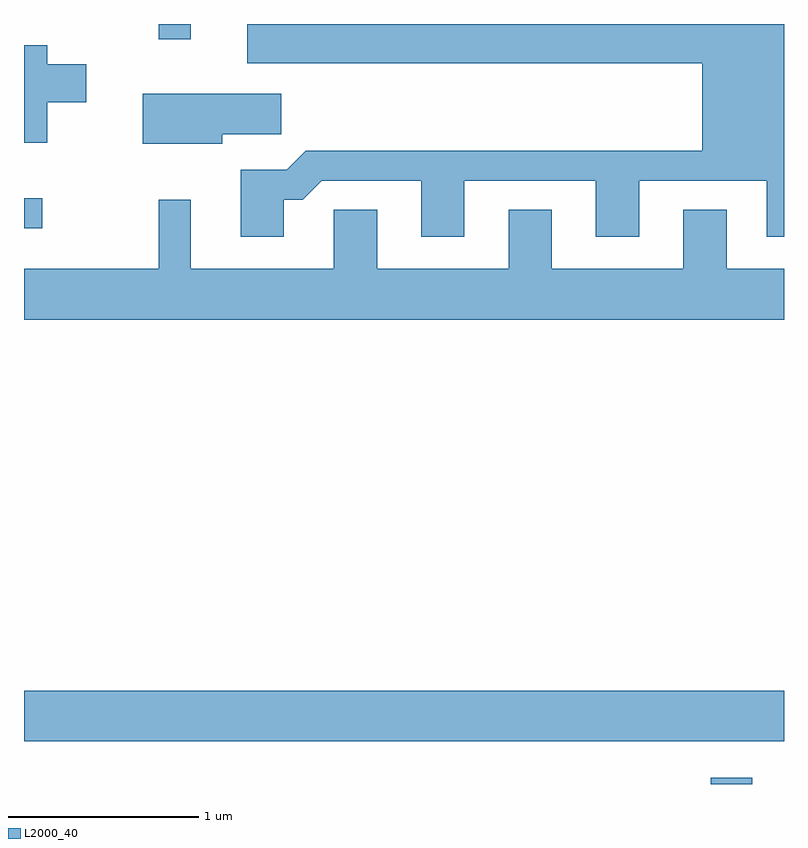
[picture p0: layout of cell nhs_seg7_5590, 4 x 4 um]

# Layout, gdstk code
import gdstk
lib = gdstk.Library(unit=1e-6, precision=1e-09)
def R(c, l, rs):  # rectangles x0, y0, x1, y1
    for r in rs: c.add(gdstk.rectangle(r[:2], r[2:], *l))
def P(c, l, *ps):  # polygons
    for p in ps: c.add(gdstk.Polygon(p, *l))
L2000_40 = (2000, 40)

nhs_seg7_5590 = lib.new_cell('nhs_seg7_5590')
R(nhs_seg7_5590, L2000_40, [(359.226,1776.252,359.444,1776.284), (355.611,1776.476,359.611,1776.744), (355.611,1779.176,355.708,1779.334), (356.321,1780.173,356.489,1780.252)])
P(nhs_seg7_5590, L2000_40, [(356.979,1779.326),(357.077,1779.326),(357.177,1779.426),(357.701,1779.426),(357.701,1779.131),(357.929,1779.131),(357.929,1779.426),(358.621,1779.426),(358.621,1779.131),(358.849,1779.131),(358.849,1779.426),(359.521,1779.426),(359.521,1779.131),(359.611,1779.131),(359.611,1780.252),(356.786,1780.252),(356.786,1780.046),(359.181,1780.046),(359.181,1779.584),(357.094,1779.584),(356.994,1779.484),(356.751,1779.484),(356.751,1779.131),(356.979,1779.131)],
  [(355.734,1779.841),(355.939,1779.841),(355.939,1780.039),(355.734,1780.039),(355.734,1780.139),(355.611,1780.139),(355.611,1779.626),(355.734,1779.626)],
  [(356.654,1779.671),(356.964,1779.671),(356.964,1779.884),(356.236,1779.884),(356.236,1779.621),(356.654,1779.621)],
  [(359.611,1778.964),(359.309,1778.964),(359.309,1779.274),(359.081,1779.274),(359.081,1778.964),(358.389,1778.964),(358.389,1779.274),(358.161,1779.274),(358.161,1778.964),(357.469,1778.964),(357.469,1779.274),(357.241,1779.274),(357.241,1778.964),(356.489,1778.964),(356.489,1779.328),(356.321,1779.328),(356.321,1778.964),(355.611,1778.964),(355.611,1778.696),(359.611,1778.696)])

lib.write_gds('nhs_seg7_5590.gds')
